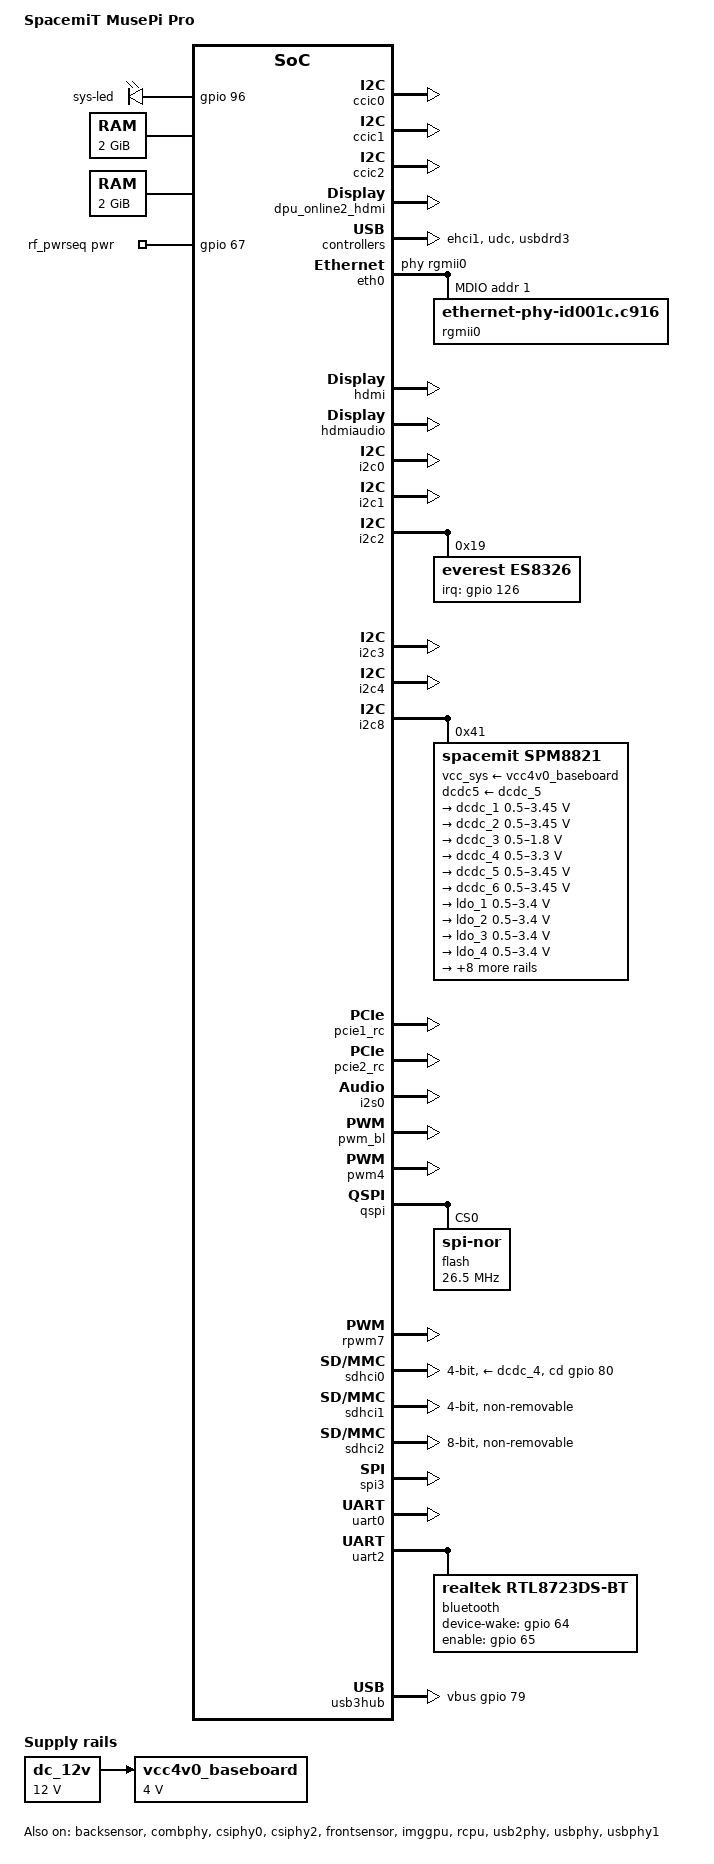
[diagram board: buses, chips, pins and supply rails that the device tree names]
// SPDX-License-Identifier: (GPL-2.0 OR MIT)
/* Copyright (c) 2023 Spacemit, Inc */

/dts-v1/;

#include "k1-x.dtsi"
#include "k1-x-efuse.dtsi"
#include "k1-x_pinctrl.dtsi"
#include "lcd_tc358762xbg_dpi_800x480.dtsi"
#include "k1-x-hdmi.dtsi"
#include "k1-x-lcd.dtsi"
#include "k1-x-camera-sdk.dtsi"
#include "k1-x_opp_table.dtsi"
#include "k1-x_thermal_cooling.dtsi"

/ {
	model = "SpacemiT MusePi Pro";
	modules_usrload = "8852bs";

	chosen {
		bootargs = "earlycon=sbi console=ttyS0,115200n8 swiotlb=65536 rdinit=/init";
		stdout-path = "serial0:115200n8";
	};

	cpus: cpus {
		#address-cells = <1>;
		#size-cells = <0>;
		timebase-frequency = <24000000>;

		cpu_0: cpu@0 {
			reg = <0>;
			cpu-ai = "true";
		};

		cpu_1: cpu@1 {
			reg = <1>;
			cpu-ai = "true";
		};

		cpu_2: cpu@2 {
			reg = <2>;
			cpu-ai = "true";
		};

		cpu_3: cpu@3 {
			reg = <3>;
			cpu-ai = "true";
		};

		cpu-map {
			cluster0 {
				core0 {
					cpu = <&cpu_0>;
				};

				core1 {
					cpu = <&cpu_1>;
				};

				core2 {
					cpu = <&cpu_2>;
				};

				core3 {
					cpu = <&cpu_3>;
				};
			};

			cluster1 {
				core0 {
					cpu = <&cpu_4>;
				};

				core1 {
					cpu = <&cpu_5>;
				};

				core2 {
					cpu = <&cpu_6>;
				};

				core3 {
					cpu = <&cpu_7>;
				};
			};
		};
	};

	dc_12v: dc-12v {
		compatible = "regulator-fixed";
		regulator-name = "dc_12v";
		regulator-always-on;
		regulator-boot-on;
		regulator-min-microvolt = <12000000>;
		regulator-max-microvolt = <12000000>;
	};

	leds {
		compatible = "gpio-leds";

		led1 {
			label = "sys-led";
			gpios = <&gpio 96 0>;
			linux,default-trigger = "heartbeat";
			default-state = "on";
			status = "okay";
		};
	};

	memory@0 {
		device_type = "memory";
		reg = <0x0 0x00000000 0x0 0x80000000>;
	};

	memory@100000000 {
		device_type = "memory";
		reg = <0x1 0x00000000 0x0 0x80000000>;
	};

	reserved-memory {
		#address-cells = <2>;
		#size-cells = <2>;
		ranges;

		linux,cma {
			compatible = "shared-dma-pool";
			/* alloc memory from 0x40000000~0x70000000 */
			alloc-ranges = <0 0x40000000 0 0x30000000>;
			/* size of cma buffer is 384MByte */
			size = <0 0x18000000>;
			/* start address is 1Mbyte aligned */
			alignment = <0x0 0x100000>;
			linux,cma-default;
			/* besides hardware, dma for ex. buffer can be used by memory management */
			reusable;
		};

		/* reserved 384K for dpu, including mmu table(256K) and cmdlist(128K) */
		dpu_resv: dpu_reserved@2ff40000 {
			compatible = "shared-dma-pool";
			reg = <0x0 0x2ff40000 0x0 0x000C0000>;
			no-map;
		};
	};

	rf_pwrseq: rf-pwrseq {
		compatible = "spacemit,rf-pwrseq";
		//vdd-supply = <&ldo_7>;
		//vdd_voltage = <3300000>;
		io-supply = <&dcdc_3>;
		io_voltage = <1800000>;
		pwr-gpios  = <&gpio 67 0>;
		status = "okay";

		wlan_pwrseq: wlan-pwrseq {
			compatible = "spacemit,wlan-pwrseq";
			regon-gpios = <&gpio 116 0>;
			interrupt-parent = <&pinctrl>;
			interrupts = <268>;
			pinctrl-names = "default";
			pinctrl-0 = <&pinctrl_wlan_wakeup>;
		};

		bt_pwrseq: bt-pwrseq {
			compatible = "spacemit,bt-pwrseq";
			reset-gpios = <&gpio 63 GPIO_ACTIVE_HIGH>;
		};
	};

	vcc4v0_baseboard: vcc4v0-baseboard {
		compatible = "regulator-fixed";
		regulator-name = "vcc4v0_baseboard";
		regulator-always-on;
		regulator-boot-on;
		regulator-min-microvolt = <4000000>;
		regulator-max-microvolt = <4000000>;
		vin-supply = <&dc_12v>;
	};
};

/* MIPI CSI1, clk lane1 */
&backsensor {
	pwdn-gpios = <&gpio 113 0>;
	dvdd-powen-gpios = <&gpio 115 0>;

	mclk-disable;

	status = "okay";
};

/* MIPI CSI3 data line2,3 clk lane2 */
&backsensor_aux {
	af_2v8-supply = <&ldo_3>;
	avdd_2v8-supply = <&ldo_2>;
	dovdd_1v8-supply = <&ldo_7>;
	dvdd_1v2-supply = <&ldo_6>;

	pwdn-gpios = <&gpio 124 0>;
	reset-gpios = <&gpio 97 0>;

	pinmulti-enable;
	twsi-index = <0>;
	clocks = <&ccu CLK_CAMM0>;
	clock-names = "cam_mclk0";
	pinctrl-names = "mclk_multi";
	pinctrl-0 = <&pinctrl_camera0>;

	status = "disabled";
};

&ccic0 {
	power-domains = <&power K1X_PMU_ISP_PWR_DOMAIN>;

	status = "okay";
};

&ccic1 {
	power-domains = <&power K1X_PMU_ISP_PWR_DOMAIN>;

	status = "okay";
};

&ccic2 {
	power-domains = <&power K1X_PMU_ISP_PWR_DOMAIN>;

	status = "okay";
};

&combphy {
	status = "okay";
};

&cpp {
	power-domains = <&power K1X_PMU_ISP_PWR_DOMAIN>;
};

&csiphy0 {

	status = "okay";
};

&csiphy1 {

	status = "disabled";
};

&csiphy2 {
	spacemit,bifmode-enable;
	status = "okay";
};

&dpu_online2_dsi {
	memory-region = <&dpu_resv>;
	spacemit-dpu-bitclk = <700000000>;

	spacemit-dpu-escclk = <76800000>;
	dsi_1v2-supply = <&ldo_5>;
	vin-supply-names = "dsi_1v2";
	status = "disabled";
};

&dsi2 {
	status = "disabled";
	force-attached = "lcd_tc358762xbg_dpi_800x480";

	ports {
		#address-cells = <1>;
		#size-cells = <0>;

		port@0 {
			reg = <0>;
			#address-cells = <1>;
			#size-cells = <0>;

			dsi1_output: endpoint@1 {
				reg = <1>;
				remote-endpoint = <&panel_in>;
			};
		};
	};

	dpi_panel: panel@0 {
			status = "ok";
			compatible = "raspberrypi,dpi-panel";
	};
};

&dpu_online2_hdmi {
	memory-region = <&dpu_resv>;
	status = "okay";
};

&ehci {
	spacemit,reset-on-resume;
	spacemit,udc-mode = <MV_USB_MODE_OTG>;
	status = "disabled";
};

&ehci1 {
	spacemit,udc-mode = <MV_USB_MODE_HOST>;
	spacemit,reset-on-resume;
	status = "okay";
};

&eth0 {
	pinctrl-names = "default";
	pinctrl-0 = <&pinctrl_gmac0>;

	emac,reset-gpio = <&gpio 110 0>;
	emac,reset-active-low;
	emac,reset-delays-us = <0 10000 100000>;

	/* store forward mode */
	tx-threshold = <1518>;
	rx-threshold = <12>;
	tx-ring-num = <1024>;
	rx-ring-num = <1024>;
	dma-burst-len = <5>;

	ref-clock-from-phy;

	clk-tuning-enable;
	clk-tuning-by-delayline;
	tx-phase = <60>;
	rx-phase = <73>;

	nvmem-cells = <&mac_address0>;
	nvmem-cell-names = "mac-address";

	phy-handle = <&rgmii0>;

	status = "okay";

	mdio-bus {
		#address-cells = <0x1>;
		#size-cells = <0x0>;
		rgmii0: phy@1 {
			compatible = "ethernet-phy-id001c.c916";
			device_type = "ethernet-phy";
			reg = <0x1>;
			phy-mode = "rgmii";

			leds {
				#address-cells = <1>;
				#size-cells = <0>;

				lan0-led1@1 {
					reg = <1>;
					linux,default-trigger = "netdev";
				};

				lan0-led2@2 {
					reg = <2>;
					linux,default-trigger = "netdev";
				};
			};
		};
	};
};

/* MIPI CSI3 data line0,1 clk lane3 */
&frontsensor {
	pwdn-gpios = <&gpio 114 0>;
	dvdd-powen-gpios = <&gpio 115 0>;

	twsi-index = <1>;

	//mclk can disable
	mclk-disable;
	pinctrl-names = "default";
	pinctrl-0 = <&pinctrl_camera1>;

	status = "okay";
};

&gpio{
	gpio-ranges = <
		&pinctrl 49  GPIO_49  2
		&pinctrl 58  GPIO_58  1
		&pinctrl 63  GPIO_63  1
		&pinctrl 65  GPIO_65  1
		&pinctrl 67  GPIO_67  1
		&pinctrl 70  PRI_TDI  4
		&pinctrl 74  GPIO_74  1
		&pinctrl 79  GPIO_79  1
		&pinctrl 80  GPIO_80  4
		&pinctrl 90  GPIO_90  3
		&pinctrl 96  DVL0     2
		&pinctrl 110 GPIO_110 1
		&pinctrl 111 GPIO_111 1
		&pinctrl 113 GPIO_113 1
		&pinctrl 114 GPIO_114 3
		&pinctrl 118 GPIO_118 1
		&pinctrl 123 GPIO_123 5
	>;
};

&hdmi{
	pinctrl-names = "default";
	pinctrl-0 = <&pinctrl_hdmi_0>;
	status = "okay";
};

&hdmiaudio {
	status = "okay";
};

&lcds {
	status = "disabled";
};

&i2c0 {
	pinctrl-names = "default";
	pinctrl-0 = <&pinctrl_i2c0>;
	spacemit,i2c-fast-mode;
	status = "okay";
};

&i2c1 {
	pinctrl-names = "default";
	pinctrl-0 = <&pinctrl_i2c1>;
	spacemit,i2c-fast-mode;
	status = "okay";
};

&i2c2 {
	pinctrl-names = "default";
	pinctrl-0 = <&pinctrl_i2c2_0>;
	spacemit,i2c-fast-mode;
	status = "okay";

	eeprom@50{
		compatible = "atmel,24c02";
		reg = <0x50>;
		#address-cells = <1>;
		#size-cells = <1>;

		power-domains = <&power K1X_PMU_DUMMY_PWR_DOMAIN>;
		status = "disabled";

		mac_address0: mac_address0@0 {
			reg = <0x0 6>;
		};

		mac_address1: mac_address1@6 {
			reg = <0x6 6>;
		};
	};

	es8326: es8326@19{
		compatible = "everest,es8326";
		reg = <0x19>;
		#sound-dai-cells = <0>;
		interrupt-parent = <&gpio>;
		interrupts = <126 1>;
		everest,mic1-src = [44];
		everest,mic2-src = [66];
		status = "okay";
	};
};

&i2c3 {
	pinctrl-names = "default";
	pinctrl-0 = <&pinctrl_i2c3_0>;
	status = "okay";
};

&i2c4 {
	pinctrl-names = "default";
	pinctrl-0 = <&pinctrl_i2c4_0>;
	status = "okay";
};

&i2c5 {
	pinctrl-names = "default";
	pinctrl-0 = <&pinctrl_i2c5_0>;
	status = "disabled";

	raspits-panel@45 {
		status = "okay";
		compatible = "raspberrypi,7inch-touchscreen-panel";
		reg = <0x45>;
		enable-gpio = <&gpio 83 0>;

		port {
			panel_in: endpoint {
				remote-endpoint = <&dsi1_output>;
			};
		};
	};

	raspits-touch-ft5426@38 {
		status = "okay";
		compatible = "raspits_ft5426";
		reg = <0x38>;
	};
};

&i2c6 {
	pinctrl-names = "default";
	pinctrl-0 = <&pinctrl_i2c6_2>;
	status = "disabled";

	gt9xx@5d {
		compatible = "goodix,gt9xx";
		reg = <0x5d>;

		reset-gpios = <&gpio 114 GPIO_ACTIVE_HIGH>;
		irq-gpios = <&gpio 58 GPIO_ACTIVE_HIGH>;
		irq-flags = <2>;

		touchscreen-max-id = <11>;
		touchscreen-size-x = <1200>;
		touchscreen-size-y = <1920>;
		touchscreen-max-w = <512>;
		touchscreen-max-p = <512>;

		goodix,int-sync = <1>;
		status = "disabled";
	};

};

&i2c7 {
	pinctrl-names = "default";
	pinctrl-0 = <&pinctrl_i2c7>;
	status = "disabled";
};

&i2c8 {
	pinctrl-names = "default";
	pinctrl-0 = <&pinctrl_i2c8>;
	status = "okay";

	spm8821@41 {
		compatible = "spacemit,spm8821";
		reg = <0x41>;
		interrupt-parent = <&intc>;
		interrupts = <64>;
		status = "okay";

		vcc_sys-supply = <&vcc4v0_baseboard>;
		dcdc5-supply = <&dcdc_5>;

		regulators {
			compatible = "pmic,regulator,spm8821";

			/* buck */
			dcdc_1: DCDC_REG1 {
				regulator-name = "dcdc1";
				regulator-min-microvolt = <500000>;
				regulator-max-microvolt = <3450000>;
				regulator-ramp-delay = <5000>;
				regulator-always-on;

				regulator-state-mem {
					regulator-off-in-suspend;
					regulator-suspend-microvolt = <650000>;
				};
			};

			dcdc_2: DCDC_REG2 {
				regulator-name = "dcdc2";
				regulator-min-microvolt = <500000>;
				regulator-max-microvolt = <3450000>;
				regulator-ramp-delay = <5000>;
				regulator-always-on;
			};

			dcdc_3: DCDC_REG3 {
				regulator-name = "dcdc3";
				regulator-min-microvolt = <500000>;
				regulator-max-microvolt = <1800000>;
				regulator-ramp-delay = <5000>;
				regulator-always-on;
			};

			dcdc_4: DCDC_REG4 {
				regulator-name = "dcdc4";
				regulator-min-microvolt = <500000>;
				regulator-max-microvolt = <3300000>;
				regulator-ramp-delay = <5000>;
				regulator-always-on;

				regulator-state-mem {
					regulator-off-in-suspend;
					regulator-suspend-microvolt = <3300000>;
				};
			};

			dcdc_5: DCDC_REG5 {
				regulator-name = "dcdc5";
				regulator-min-microvolt = <500000>;
				regulator-max-microvolt = <3450000>;
				regulator-ramp-delay = <5000>;
				regulator-always-on;
			};

			dcdc_6: DCDC_REG6 {
				regulator-name = "dcdc6";
				regulator-min-microvolt = <500000>;
				regulator-max-microvolt = <3450000>;
				regulator-ramp-delay = <5000>;
				regulator-always-on;
			};

			/* aldo */
			ldo_1: LDO_REG1 {
				regulator-name = "ldo1";
				regulator-min-microvolt = <500000>;
				regulator-max-microvolt = <3400000>;
				regulator-boot-on;

				/* set the min voltage means will disable this vol in suspend for ldo */
				regulator-state-mem {
					regulator-off-in-suspend;
					regulator-suspend-microvolt = <500000>;
				};
			};

			ldo_2: LDO_REG2 {
				regulator-name = "ldo2";
				regulator-min-microvolt = <500000>;
				regulator-max-microvolt = <3400000>;

				regulator-state-mem {
					regulator-off-in-suspend;
					regulator-suspend-microvolt = <500000>;
				};
			};

			ldo_3: LDO_REG3 {
				regulator-name = "ldo3";
				regulator-min-microvolt = <500000>;
				regulator-max-microvolt = <3400000>;

				regulator-state-mem {
					regulator-off-in-suspend;
					regulator-suspend-microvolt = <500000>;
				};
			};

			ldo_4: LDO_REG4 {
				regulator-name = "ldo4";
				regulator-min-microvolt = <500000>;
				regulator-max-microvolt = <3400000>;

				regulator-state-mem {
					regulator-off-in-suspend;
					regulator-suspend-microvolt = <500000>;
				};
			};

			/* dldo */
			ldo_5: LDO_REG5 {
				regulator-name = "ldo5";
				regulator-min-microvolt = <500000>;
				regulator-max-microvolt = <3400000>;
				regulator-boot-on;

				regulator-state-mem {
					regulator-off-in-suspend;
					regulator-suspend-microvolt = <500000>;
				};
			};

			ldo_6: LDO_REG6 {
				regulator-name = "ldo6";
				regulator-min-microvolt = <500000>;
				regulator-max-microvolt = <3400000>;

				regulator-state-mem {
					regulator-off-in-suspend;
					regulator-suspend-microvolt = <500000>;
				};
			};

			ldo_7: LDO_REG7 {
				regulator-name = "ldo7";
				regulator-min-microvolt = <500000>;
				regulator-max-microvolt = <3400000>;

				regulator-state-mem {
					regulator-off-in-suspend;
					regulator-suspend-microvolt = <500000>;
				};
			};

			ldo_8: LDO_REG8 {
				regulator-name = "ldo8";
				regulator-min-microvolt = <500000>;
				regulator-max-microvolt = <3400000>;
				regulator-always-on;
			};

			ldo_9: LDO_REG9 {
				regulator-name = "ldo9";
				regulator-min-microvolt = <500000>;
				regulator-max-microvolt = <3400000>;
			};

			ldo_10: LDO_REG10 {
				regulator-name = "ldo10";
				regulator-min-microvolt = <500000>;
				regulator-max-microvolt = <3400000>;
				regulator-always-on;
			};

			ldo_11: LDO_REG11 {
				regulator-name = "ldo11";
				regulator-min-microvolt = <500000>;
				regulator-max-microvolt = <3400000>;
			};

			sw_1: SWITCH_REG1 {
				regulator-name = "switch1";
			};
		};

		pmic_pinctrl: pinctrl {
			compatible = "pmic,pinctrl,spm8821";
			gpio-controller;
			#gpio-cells = <2>;
			spacemit,npins = <6>;
/**
 *			led_pins: led-pins {
 *				pins = "PIN3";
 *				function = "sleep";
 *				bias-disable = <0>;
 *				drive-open-drain = <0x1>;
 *			};
 */
		};

		pwr_key: key {
			compatible = "pmic,pwrkey,spm8821";
		};

		ext_rtc: rtc {
			compatible = "pmic,rtc,spm8821";
		};

		ext_adc: adc {
			compatible = "pmic,adc,spm8821";
		};
	};
};

&pcie1_rc {
	pinctrl-names = "default";
	pinctrl-0 = <&pinctrl_pcie1_3>;
	status = "okay";
};

&pcie2_rc {
	pinctrl-names = "default";
	pinctrl-0 = <&pinctrl_pcie2_5>;
	status = "okay";
};

&imggpu {
	status = "okay";
};

&i2s0 {
        pinctrl-names = "default";
        pinctrl-0 = <&pinctrl_sspa0_2>;
        status = "okay";
};

&isp {
	power-domains = <&power K1X_PMU_ISP_PWR_DOMAIN>;
};

&otg {
	usb-role-switch;
	role-switch-user-control;
	spacemit,reset-on-resume;
	role-switch-default-mode = "peripheral";
	vbus-gpios = <&gpio 123 0>;
	status = "disabled";
};

&otg1 {
	usb-role-switch;
	role-switch-user-control;
	spacemit,reset-on-resume;
	role-switch-default-mode = "host";
	vbus-gpios = <&gpio 123 0>;
	status = "disabled";
};

&pinctrl {
	pinctrl-single,gpio-range = <
		&range GPIO_49  2 (MUX_MODE0 | EDGE_NONE | PULL_UP   | PAD_3V_DS4)
		&range GPIO_58  1 (MUX_MODE0 | EDGE_NONE | PULL_UP   | PAD_1V8_DS2)
		&range GPIO_63  1 (MUX_MODE0 | EDGE_NONE | PULL_UP   | PAD_1V8_DS2)
		&range GPIO_64  1 (MUX_MODE1 | EDGE_NONE | PULL_UP   | PAD_1V8_DS2)
		&range GPIO_65  1 (MUX_MODE0 | EDGE_NONE | PULL_UP   | PAD_1V8_DS2)
		&range GPIO_67  1 (MUX_MODE0 | EDGE_NONE | PULL_UP   | PAD_3V_DS4)
		&range PRI_TDI  2 (MUX_MODE1 | EDGE_NONE | PULL_UP   | PAD_1V8_DS2)
		&range PRI_TCK  1 (MUX_MODE1 | EDGE_NONE | PULL_DOWN | PAD_1V8_DS2)
		&range PRI_TDO  1 (MUX_MODE1 | EDGE_NONE | PULL_UP   | PAD_1V8_DS2)
		&range GPIO_74  1 (MUX_MODE0 | EDGE_NONE | PULL_UP   | PAD_1V8_DS2)
		&range GPIO_79  1 (MUX_MODE0 | EDGE_NONE | PULL_UP   | PAD_1V8_DS2)
		&range GPIO_80  1 (MUX_MODE0 | EDGE_NONE | PULL_UP   | PAD_3V_DS4)
		&range GPIO_81  3 (MUX_MODE0 | EDGE_NONE | PULL_UP   | PAD_1V8_DS2)
		&range GPIO_90  1 (MUX_MODE0 | EDGE_NONE | PULL_DOWN | PAD_1V8_DS2)
		&range GPIO_91  2 (MUX_MODE0 | EDGE_NONE | PULL_UP   | PAD_1V8_DS2)
		&range DVL0     1 (MUX_MODE1 | EDGE_NONE | PULL_DOWN | PAD_1V8_DS2)
		&range DVL1     1 (MUX_MODE1 | EDGE_NONE | PULL_DOWN | PAD_1V8_DS0)
		&range GPIO_110 1 (MUX_MODE0 | EDGE_NONE | PULL_DOWN | PAD_1V8_DS2)
		&range GPIO_111 1 (MUX_MODE0 | EDGE_NONE | PULL_DOWN | PAD_1V8_DS2)
		&range GPIO_113 1 (MUX_MODE0 | EDGE_NONE | PULL_DOWN | PAD_1V8_DS2)
		&range GPIO_114 1 (MUX_MODE0 | EDGE_NONE | PULL_DOWN | PAD_1V8_DS2)
		&range GPIO_115 1 (MUX_MODE0 | EDGE_NONE | PULL_DOWN | PAD_1V8_DS2)
		&range GPIO_116 1 (MUX_MODE0 | EDGE_NONE | PULL_UP   | PAD_1V8_DS2)
		&range GPIO_118 1 (MUX_MODE0 | EDGE_NONE | PULL_UP   | PAD_1V8_DS2)
		&range GPIO_123 1 (MUX_MODE0 | EDGE_NONE | PULL_DOWN | PAD_1V8_DS0)
		&range GPIO_124 1 (MUX_MODE0 | EDGE_NONE | PULL_UP   | PAD_1V8_DS2)
		&range GPIO_125 3 (MUX_MODE0 | EDGE_NONE | PULL_DOWN | PAD_1V8_DS2)
	>;

	pinctrl_rcpu: pinctrl_rcpu_grp {
		pinctrl-single,pins = <
			K1X_PADCONF(GPIO_47, MUX_MODE1, (EDGE_NONE | PULL_UP | PAD_3V_DS4))	/* r_uart0_tx */
			K1X_PADCONF(GPIO_48, MUX_MODE1, (EDGE_NONE | PULL_UP | PAD_3V_DS4))	/* r_uart0_rx */
		>;
	};

	pinctrl_rpwm7_0: rpwm7_0_grp {
		pinctrl-single,pins = <
			K1X_PADCONF(GPIO_52, MUX_MODE3, (EDGE_NONE | PULL_UP | PAD_3V_DS4))	/* rcpu_pwm7 */
		>;
	};

	pinctrl_gmac0: gmac0_grp {
		pinctrl-single,pins =<
			K1X_PADCONF(GPIO_00, MUX_MODE1, (EDGE_NONE | PULL_DIS | PAD_1V8_DS2))	/* gmac0_rxdv */
			K1X_PADCONF(GPIO_01, MUX_MODE1, (EDGE_NONE | PULL_DIS | PAD_1V8_DS2))	/* gmac0_rx_d0 */
			K1X_PADCONF(GPIO_02, MUX_MODE1, (EDGE_NONE | PULL_DIS | PAD_1V8_DS2))	/* gmac0_rx_d1 */
			K1X_PADCONF(GPIO_03, MUX_MODE1, (EDGE_NONE | PULL_DIS | PAD_1V8_DS2))	/* gmac0_rx_clk */
			K1X_PADCONF(GPIO_04, MUX_MODE1, (EDGE_NONE | PULL_DIS | PAD_1V8_DS2))	/* gmac0_rx_d2 */
			K1X_PADCONF(GPIO_05, MUX_MODE1, (EDGE_NONE | PULL_DIS | PAD_1V8_DS2))	/* gmac0_rx_d3 */
			K1X_PADCONF(GPIO_06, MUX_MODE1, (EDGE_NONE | PULL_DIS | PAD_1V8_DS2))	/* gmac0_tx_d0 */
			K1X_PADCONF(GPIO_07, MUX_MODE1, (EDGE_NONE | PULL_DIS | PAD_1V8_DS2))	/* gmac0_tx_d1 */
			K1X_PADCONF(GPIO_08, MUX_MODE1, (EDGE_NONE | PULL_DIS | PAD_1V8_DS2))	/* gmac0_tx */
			K1X_PADCONF(GPIO_09, MUX_MODE1, (EDGE_NONE | PULL_DIS | PAD_1V8_DS2))	/* gmac0_tx_d2 */
			K1X_PADCONF(GPIO_10, MUX_MODE1, (EDGE_NONE | PULL_DIS | PAD_1V8_DS2))	/* gmac0_tx_d3 */
			K1X_PADCONF(GPIO_11, MUX_MODE1, (EDGE_NONE | PULL_DIS | PAD_1V8_DS2))	/* gmac0_tx_en */
			K1X_PADCONF(GPIO_12, MUX_MODE1, (EDGE_NONE | PULL_DIS | PAD_1V8_DS0))	/* gmac0_mdc */
			K1X_PADCONF(GPIO_13, MUX_MODE1, (EDGE_NONE | PULL_DIS | PAD_1V8_DS0))	/* gmac0_mdio */
			K1X_PADCONF(GPIO_14, MUX_MODE1, (EDGE_NONE | PULL_DIS | PAD_1V8_DS2))	/* gmac0_int_n */
			K1X_PADCONF(GPIO_45, MUX_MODE1, (EDGE_NONE | PULL_DIS | PAD_1V8_DS2))	/* gmac0_clk_ref */
		>;
	};

	pinctrl_gmac1: gmac1_grp {
		pinctrl-single,pins =<
			K1X_PADCONF(GPIO_29, MUX_MODE1, (EDGE_NONE | PULL_DIS | PAD_1V8_DS2))	/* gmac1_rxdv */
			K1X_PADCONF(GPIO_30, MUX_MODE1, (EDGE_NONE | PULL_DIS | PAD_1V8_DS2))	/* gmac1_rx_d0 */
			K1X_PADCONF(GPIO_31, MUX_MODE1, (EDGE_NONE | PULL_DIS | PAD_1V8_DS2))	/* gmac1_rx_d1 */
			K1X_PADCONF(GPIO_32, MUX_MODE1, (EDGE_NONE | PULL_DIS | PAD_1V8_DS2))	/* gmac1_rx_clk */
			K1X_PADCONF(GPIO_33, MUX_MODE1, (EDGE_NONE | PULL_DIS | PAD_1V8_DS2))	/* gmac1_rx_d2 */
			K1X_PADCONF(GPIO_34, MUX_MODE1, (EDGE_NONE | PULL_DIS | PAD_1V8_DS2))	/* gmac1_rx_d3 */
			K1X_PADCONF(GPIO_35, MUX_MODE1, (EDGE_NONE | PULL_DIS | PAD_1V8_DS0))	/* gmac1_tx_d0 */
			K1X_PADCONF(GPIO_36, MUX_MODE1, (EDGE_NONE | PULL_DIS | PAD_1V8_DS0))	/* gmac1_tx_d1 */
			K1X_PADCONF(GPIO_37, MUX_MODE1, (EDGE_NONE | PULL_DIS | PAD_1V8_DS2))	/* gmac1_tx */
			K1X_PADCONF(GPIO_38, MUX_MODE1, (EDGE_NONE | PULL_DIS | PAD_1V8_DS0))	/* gmac1_tx_d2 */
			K1X_PADCONF(GPIO_39, MUX_MODE1, (EDGE_NONE | PULL_DIS | PAD_1V8_DS0))	/* gmac1_tx_d3 */
			K1X_PADCONF(GPIO_40, MUX_MODE1, (EDGE_NONE | PULL_DIS | PAD_1V8_DS0))	/* gmac1_tx_en */
			K1X_PADCONF(GPIO_41, MUX_MODE1, (EDGE_NONE | PULL_DIS | PAD_1V8_DS0))	/* gmac1_mdc */
			K1X_PADCONF(GPIO_42, MUX_MODE1, (EDGE_NONE | PULL_DIS | PAD_1V8_DS0))	/* gmac1_mdio */
			K1X_PADCONF(GPIO_43, MUX_MODE1, (EDGE_NONE | PULL_DIS | PAD_1V8_DS2))	/* gmac1_int_n */
			K1X_PADCONF(GPIO_46, MUX_MODE1, (EDGE_NONE | PULL_DIS | PAD_1V8_DS2))	/* gmac1_clk_ref */
		>;
	};

	pinctrl_wlan_wakeup: wlan_wakeup_grp {
		pinctrl-single,pins =<
			K1X_PADCONF(GPIO_66, MUX_MODE0, (EDGE_FALL | PULL_DOWN | PAD_3V_DS2))   /* wifi edge detect */
		>;
	};

	pinctrl_sspa0_2: sspa0_2_grp {
		pinctrl-single,pins =<
			K1X_PADCONF(GPIO_111, MUX_MODE2, (EDGE_NONE | PULL_UP | PAD_1V8_DS0))   /* sspa0_clk */
			K1X_PADCONF(GPIO_112, MUX_MODE2, (EDGE_NONE | PULL_UP | PAD_1V8_DS0))   /* sspa0_frm */
			K1X_PADCONF(GPIO_120, MUX_MODE3, (EDGE_NONE | PULL_UP | PAD_1V8_DS0))   /* sspa0_txd */
			K1X_PADCONF(GPIO_121, MUX_MODE3, (EDGE_NONE | PULL_UP | PAD_1V8_DS0))   /* sspa0_rxd */
			K1X_PADCONF(GPIO_122, MUX_MODE3, (EDGE_NONE | PULL_UP | PAD_1V8_DS0))   /* sspa0_sysclk */
		>;
	};

	pinctrl_pcie2_5: pcie2_5_grp {
		pinctrl-single,pins =<
			K1X_PADCONF(GPIO_62,  MUX_MODE4, (EDGE_NONE | PULL_DIS | PAD_1V8_DS2))	/* PCIe2_perstn */
			K1X_PADCONF(GPIO_36,  MUX_MODE4, (EDGE_NONE | PULL_DIS | PAD_1V8_DS2))	/* PCIe2_waken */
			K1X_PADCONF(GPIO_117, MUX_MODE4, (EDGE_NONE | PULL_DIS | PAD_1V8_DS2))	/* PCIe2_clkreqn */
		>;
	};
};

&pwm_bl {
	pwms = <&pwm14 2000>;
	brightness-levels = <
		0   40  40  40  40  40  40  40  40  40  40  40  40  40  40  40
		40  40  40  40  40  40  40  40  40  40  40  40  40  40  40  40
		40  40  40  40  40  40  40  40  40  41  42  43  44  45  46  47
		48  49  50  51  52  53  54  55  56  57  58  59  60  61  62  63
		64  65  66  67  68  69  70  71  72  73  74  75  76  77  78  79
		80  81  82  83  84  85  86  87  88  89  90  91  92  93  94  95
		96  97  98  99  100 101 102 103 104 105 106 107 108 109 110 111
		112 113 114 115 116 117 118 119 120 121 122 123 124 125 126 127
		128 129 130 131 132 133 134 135 136 137 138 139 140 141 142 143
		144 145 146 147 148 149 150 151 152 153 154 155 156 157 158 159
		160 161 162 163 164 165 166 167 168 169 170 171 172 173 174 175
		176 177 178 179 180 181 182 183 184 185 186 187 188 189 190 191
		192 193 194 195 196 197 198 199 200 201 202 203 204 205 206 207
		208 209 210 211 212 213 214 215 216 217 218 219 220 221 222 223
		224 225 226 227 228 229 230 231 232 233 234 235 236 237 238 239
		240 241 242 243 244 245 246 247 248 249 250 251 252 253 254 255
	>;
	default-brightness-level = <100>;

	status = "okay";
};

&pwm4 {
	pinctrl-names = "default";
	pinctrl-0 = <&pinctrl_pwm4_1>;
	status = "okay";
};

&pwm14 {
	pinctrl-names = "default";
	pinctrl-0 = <&pinctrl_pwm14_1>;
	status = "disabled";
};

&qspi {
	pinctrl-names = "default";
	pinctrl-0 = <&pinctrl_qspi>;
	status = "okay";

	flash@0 {
		compatible = "jedec,spi-nor";
		reg = <0>;
		spi-max-frequency = <26500000>;
		m25p,fast-read;
		broken-flash-reset;
		status = "okay";
	};
};

&rcpu {
	pinctrl-names = "default";
	pinctrl-0 = <&pinctrl_rcpu>;
	mboxes = <&mailbox 0>, <&mailbox 1>;
	mbox-names = "vq0", "vq1";
	memory-region = <&rcpu_mem_0>, <&rcpu_mem_heap>, <&vdev0vring0>, <&vdev0vring1>, <&vdev0buffer>, <&rsc_table>, <&rcpu_mem_snapshots>;
	status = "okay";
};

&rpwm7 {
	pinctrl-names = "default";
	pinctrl-0 = <&pinctrl_rpwm7_0>;
	status = "okay";
};

/* &r_uart0 {
	status = "okay";
};
*/

/* SD */
&sdhci0 {
	pinctrl-names = "default","fast";
	pinctrl-0 = <&pinctrl_mmc1>;
	pinctrl-1 = <&pinctrl_mmc1_fast>;
	bus-width = <4>;
	cd-gpios = <&gpio 80 0>;
	vmmc-supply = <&dcdc_4>;
	vqmmc-supply = <&ldo_1>;
	no-mmc;
	no-sdio;
	spacemit,sdh-host-caps-disable = <(
			MMC_CAP_UHS_SDR12 |
			MMC_CAP_UHS_SDR25
			)>;
	spacemit,sdh-quirks = <(
			SDHCI_QUIRK_BROKEN_CARD_DETECTION |
			SDHCI_QUIRK_INVERTED_WRITE_PROTECT |
			SDHCI_QUIRK_BROKEN_TIMEOUT_VAL
			)>;
	spacemit,sdh-quirks2 = <(
			SDHCI_QUIRK2_PRESET_VALUE_BROKEN |
			SDHCI_QUIRK2_BROKEN_PHY_MODULE |
			SDHCI_QUIRK2_SET_AIB_MMC
			)>;
	spacemit,aib_mmc1_io_reg = <0xD401E81C>;
	spacemit,apbc_asfar_reg = <0xD4015050>;
	spacemit,apbc_assar_reg = <0xD4015054>;
	spacemit,rx_dline_reg = <0x0>;
	spacemit,tx_dline_reg = <0x0>;
	spacemit,tx_delaycode = <0x9f>;
	spacemit,rx_tuning_limit = <50>;
	spacemit,sdh-freq = <204800000>;
	status = "okay";
};

/* SDIO */
&sdhci1 {
	pinctrl-names = "default";
	pinctrl-0 = <&pinctrl_mmc2>;
	bus-width = <4>;
	non-removable;
	vqmmc-supply = <&dcdc_3>;
	no-mmc;
	no-sd;
	keep-power-in-suspend;
	/* bcmdhd use private oob solution rather than dat1/standard wakeup */
	/delete-property/ enable-sdio-wakeup;
	spacemit,sdh-host-caps-disable = <(
			MMC_CAP_UHS_DDR50 |
			MMC_CAP_NEEDS_POLL
			)>;
	spacemit,sdh-quirks = <(
			SDHCI_QUIRK_BROKEN_CARD_DETECTION |
			SDHCI_QUIRK_BROKEN_TIMEOUT_VAL
			)>;
	spacemit,sdh-quirks2 = <(
			SDHCI_QUIRK2_PRESET_VALUE_BROKEN |
			SDHCI_QUIRK2_BROKEN_PHY_MODULE
			)>;
	spacemit,rx_dline_reg = <0x0>;
	spacemit,tx_delaycode = <0xa8 0x78>;
	spacemit,rx_tuning_limit = <50>;
	spacemit,sdh-freq = <375000000>;
	status = "okay";
};

/* eMMC */
&sdhci2 {
	bus-width = <8>;
	non-removable;
	mmc-hs400-1_8v;
	mmc-hs400-enhanced-strobe;
	no-sd;
	no-sdio;
	spacemit,sdh-quirks = <(
			SDHCI_QUIRK_BROKEN_CARD_DETECTION |
			SDHCI_QUIRK_BROKEN_TIMEOUT_VAL
			)>;
	spacemit,sdh-quirks2 = <(
			SDHCI_QUIRK2_PRESET_VALUE_BROKEN
			)>;
	spacemit,sdh-freq = <375000000>;
	status = "okay";
};

&sound_hdmi {
	status = "okay";
	simple-audio-card,cpu {
		sound-dai = <&hdmiaudio>;
	};
};

&sound_codec {
	status = "okay";
	simple-audio-card,name = "snd-es8326";
	spacemit,mclk-fs = <64>;
	simple-audio-card,codec {
		sound-dai = <&es8326>;
	};
};

&spi3 {
	pinctrl-names = "default";
	pinctrl-0 = <&pinctrl_ssp3_0>;
	k1x,ssp-disable-dma;
	status = "okay";
	k1x,ssp-clock-rate = <25600000>;
};

&uart0 {
	pinctrl-names = "default";
	pinctrl-0 = <&pinctrl_uart0_2>;
	status = "okay";
};

/* Bluetooth */
&uart2 {
 	status = "okay";
	pinctrl-0 = <&pinctrl_uart2>;
	pinctrl-names = "default";
	uart-has-rtscts;

	bluetooth {
		compatible = "realtek,rtl8723ds-bt";
		device-wake-gpios = <&gpio 64 GPIO_ACTIVE_HIGH>;
		enable-gpios = <&gpio 65 GPIO_ACTIVE_HIGH>;
	};
};

&udc {
	spacemit,udc-mode = <MV_USB_MODE_UDC>;
	status = "okay";
};

&udc1 {
	spacemit,udc-mode = <MV_USB_MODE_OTG>;
	status = "disabled";
};

&usb2phy {
	status = "okay";
};

&usb3hub {
	hub-gpios = <
		&gpio 127 0	/* usb3 hub en */
		&gpio 123 0>;	/* usb3 hub rst*/
	vbus-gpios = <&gpio 79 0>;	/* usb3 hub output vbus */
	vbus_delay_ms = <200>;
	status = "okay";
};

&usbdrd3 {
	status = "okay";
	reset-on-resume;
	dwc3@c0a00000 {
		dr_mode = "host";
		phy_type = "utmi";
		snps,hsphy_interface = "utmi";
		snps,dis_enblslpm_quirk;
		snps,dis_u2_susphy_quirk;
		snps,dis_u3_susphy_quirk;
		snps,dis-del-phy-power-chg-quirk;
		snps,dis-tx-ipgap-linecheck-quirk;
		snps,parkmode-disable-ss-quirk;
	};
};

&usbphy {
	status = "okay";
};

&usbphy1 {
	status = "okay";
};

&vi {
	power-domains = <&power K1X_PMU_ISP_PWR_DOMAIN>;
};
